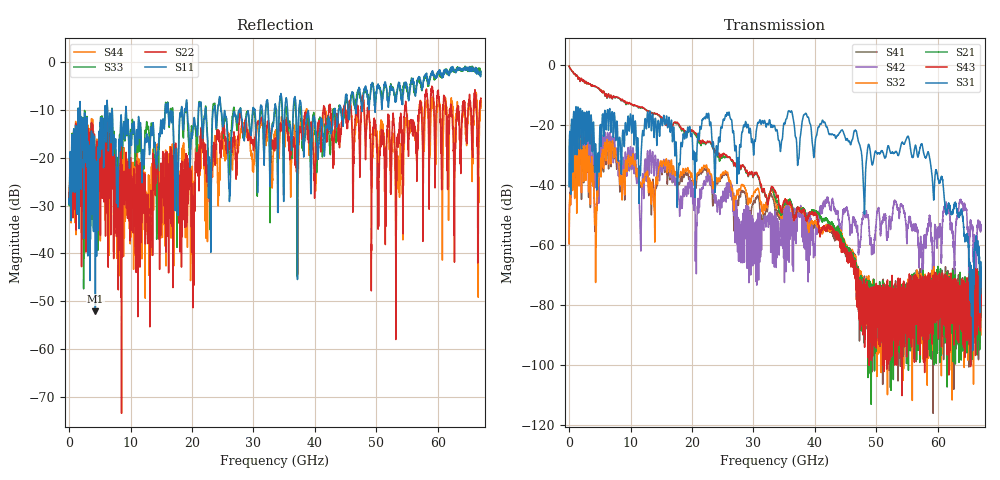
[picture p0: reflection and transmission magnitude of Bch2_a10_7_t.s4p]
!Agilent Technologies,N5247A,US51170199,A.09.90.13
!Agilent N5247A: A.09.90.13
!Date: Monday, October 22, 2018 16:11:48
!Correction: S11(Full 4 Port(1,2,3,4))
!S12(Full 4 Port(1,2,3,4))
!S13(Full 4 Port(1,2,3,4))
!S14(Full 4 Port(1,2,3,4))
!S21(Full 4 Port(1,2,3,4))
!S22(Full 4 Port(1,2,3,4))
!S23(Full 4 Port(1,2,3,4))
!S24(Full 4 Port(1,2,3,4))
!S31(Full 4 Port(1,2,3,4))
!S32(Full 4 Port(1,2,3,4))
!S33(Full 4 Port(1,2,3,4))
!S34(Full 4 Port(1,2,3,4))
!S41(Full 4 Port(1,2,3,4))
!S42(Full 4 Port(1,2,3,4))
!S43(Full 4 Port(1,2,3,4))
!S44(Full 4 Port(1,2,3,4))
!S4P File: Measurements: <S11,S12,S13,S14>,
!<S21,S22,S23,S24>,
!<S31,S32,S33,S34>,
!<S41,S42,S43,S44>:
# Hz S  dB  R 50
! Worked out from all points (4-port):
!   6701 points, 10 MHz to 67 GHz, reference 50 ohm
!   strongest paths, dB at 10 MHz, 16.76 GHz, 33.51 GHz, 50.25 GHz, 67 GHz:
!     S31: -40.5, -22.2, -20.7, -29.4, -67.7
!     S43: -0.3, -20.1, -42.0, -73.6, -76.5
!     S21: -0.3, -19.8, -43.9, -76.1, -83.4
!     S32: -59.6, -35.2, -45.3, -87.2, -71.7
!     S42: -40.6, -36.8, -50.2, -48.0, -54.5
!     S41: -59.6, -37.5, -47.9, -74.9, -72.8
!   lowest |S11| = -52.1 dB at 4.279 GHz (marker M1), VSWR 1.00, Z = 50.2 + j0.0408 ohm
!   |S11| at or under -10 dB: 1.822 GHz to 5.833 GHz (4.011 GHz wide, 105 % of centre); 9.301 GHz to 15.63 GHz (6.33 GHz wide, 50.8 % of centre); 37.82 GHz to 43.1 GHz (5.281 GHz wide, 13.1 % of centre)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
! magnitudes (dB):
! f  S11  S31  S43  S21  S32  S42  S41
! 10 MHz  -29.3  -40.5  -0.3  -0.3  -59.6  -40.6  -59.6
! 1.64 GHz  -34.8  -24.7  -4.2  -4.2  -38.1  -28.3  -38.1
! 4.279 GHz  -52.1  -26.4  -7.0  -7.1  -49.3  -33.0  -48.6
! 6.029 GHz  -15.9  -21.4  -9.6  -9.6  -31.3  -31.6  -32.4
! 25.55 GHz  -11.4  -17.1  -30.1  -30.5  -35.7  -45.7  -36.3
! 55.07 GHz  -5.4  -23.8  -87.4  -82.7  -77.8  -54.1  -76.8
! 67 GHz  -1.9  -67.7  -76.5  -83.4  -71.7  -54.5  -72.8
